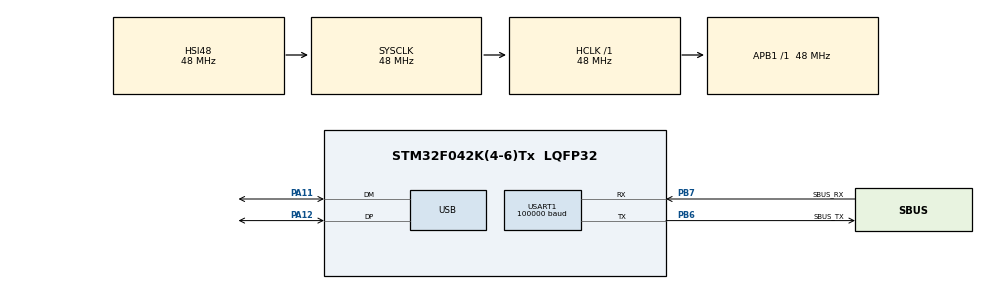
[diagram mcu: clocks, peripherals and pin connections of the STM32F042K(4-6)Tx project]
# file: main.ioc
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Dma.Request0=USART1_RX
Dma.USART1_RX.0.Direction=DMA_PERIPH_TO_MEMORY
Dma.USART1_RX.0.Instance=DMA1_Channel3
Dma.USART1_RX.0.MemDataAlignment=DMA_MDATAALIGN_BYTE
Dma.USART1_RX.0.MemInc=DMA_MINC_ENABLE
Dma.USART1_RX.0.Mode=DMA_NORMAL
Dma.USART1_RX.0.PeriphDataAlignment=DMA_PDATAALIGN_BYTE
Dma.USART1_RX.0.PeriphInc=DMA_PINC_DISABLE
Dma.USART1_RX.0.Priority=DMA_PRIORITY_LOW
Mcu.Family=STM32F0
Mcu.Name=STM32F042K(4-6)Tx
Mcu.Package=LQFP32
NVIC.DMA1_Channel2_3_IRQn=true\:0\:0\:false\:false\:true\:false
NVIC.USB_IRQn=true\:0\:0\:false\:false\:true\:false
PA11.Mode=Device
PA11.Signal=USB_DM
PA12.Mode=Device
PA12.Signal=USB_DP
PA13.Mode=Serial_Wire
PA13.Signal=SYS_SWDIO
PA14.Mode=Serial_Wire
PA14.Signal=SYS_SWCLK
PB6.GPIO_Label=SBUS_TX
PB6.Mode=Asynchronous
PB6.Signal=USART1_TX
PB7.GPIO_Label=SBUS_RX
PB7.Mode=Asynchronous
PB7.Signal=USART1_RX
ProjectManager.HeapSize=0x100
ProjectManager.StackSize=0x250
ProjectManager.TargetToolchain=Makefile
RCC.AHBFreq_Value=48000000
RCC.APB1Freq_Value=48000000
RCC.APB1TimFreq_Value=48000000
RCC.HCLKFreq_Value=48000000
RCC.SYSCLKFreq_VALUE=48000000
RCC.SYSCLKSource=RCC_SYSCLKSOURCE_HSI48
USART1.BaudRate=100000
USART1.DMADisableonRxErrorParam=ADVFEATURE_DMA_DISABLEONRXERROR
USART1.Mode=MODE_TX_RX
USART1.OverSampling=UART_OVERSAMPLING_16
USART1.Parity=PARITY_EVEN
USART1.RxPinLevelInvertParam=ADVFEATURE_RXINV_ENABLE
USART1.StopBits=STOPBITS_2
USART1.TxPinLevelInvertParam=ADVFEATURE_TXINV_ENABLE
USART1.VirtualMode-Asynchronous=VM_ASYNC
USB_DEVICE.APP_RX_DATA_SIZE=100
USB_DEVICE.APP_TX_DATA_SIZE=200
USB_DEVICE.CLASS_NAME_FS=CDC
USB_DEVICE.VirtualMode=Cdc
USB_DEVICE.VirtualModeFS=Cdc_FS
VP_TIM2_VS_ClockSourceINT.Mode=Internal
VP_USB_DEVICE_VS_USB_DEVICE_CDC_FS.Mode=CDC_FS
board=custom

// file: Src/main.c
/**
  ******************************************************************************
  * @file           : main.c
  * @brief          : Main program body
  ******************************************************************************
  * This notice applies to any and all portions of this file
  * that are not between comment pairs USER CODE BEGIN and
  * USER CODE END. Other portions of this file, whether
  * inserted by the user or by software development tools
  * are owned by their respective copyright owners.
  *
  * Copyright (c) 2018 STMicroelectronics International N.V.
  * All rights reserved.
  *
  * Redistribution and use in source and binary forms, with or without
  * modification, are permitted, provided that the following conditions are met:
  *
  * 1. Redistribution of source code must retain the above copyright notice,
  *    this list of conditions and the following disclaimer.
  * 2. Redistributions in binary form must reproduce the above copyright notice,
  *    this list of conditions and the following disclaimer in the documentation
  *    and/or other materials provided with the distribution.
  * 3. Neither the name of STMicroelectronics nor the names of other
  *    contributors to this software may be used to endorse or promote products
  *    derived from this software without specific written permission.
  * 4. This software, including modifications and/or derivative works of this
  *    software, must execute solely and exclusively on microcontroller or
  *    microprocessor devices manufactured by or for STMicroelectronics.
  * 5. Redistribution and use of this software other than as permitted under
  *    this license is void and will automatically terminate your rights under
  *    this license.
  *
  * THIS SOFTWARE IS PROVIDED BY STMICROELECTRONICS AND CONTRIBUTORS "AS IS"
  * AND ANY EXPRESS, IMPLIED OR STATUTORY WARRANTIES, INCLUDING, BUT NOT
  * LIMITED TO, THE IMPLIED WARRANTIES OF MERCHANTABILITY, FITNESS FOR A
  * PARTICULAR PURPOSE AND NON-INFRINGEMENT OF THIRD PARTY INTELLECTUAL PROPERTY
  * RIGHTS ARE DISCLAIMED TO THE FULLEST EXTENT PERMITTED BY LAW. IN NO EVENT
  * SHALL STMICROELECTRONICS OR CONTRIBUTORS BE LIABLE FOR ANY DIRECT, INDIRECT,
  * INCIDENTAL, SPECIAL, EXEMPLARY, OR CONSEQUENTIAL DAMAGES (INCLUDING, BUT NOT
  * LIMITED TO, PROCUREMENT OF SUBSTITUTE GOODS OR SERVICES; LOSS OF USE, DATA,
  * OR PROFITS; OR BUSINESS INTERRUPTION) HOWEVER CAUSED AND ON ANY THEORY OF
  * LIABILITY, WHETHER IN CONTRACT, STRICT LIABILITY, OR TORT (INCLUDING
  * NEGLIGENCE OR OTHERWISE) ARISING IN ANY WAY OUT OF THE USE OF THIS SOFTWARE,
  * EVEN IF ADVISED OF THE POSSIBILITY OF SUCH DAMAGE.
  *
  ******************************************************************************
  */
#include "main.h"
#include "stm32f0xx_hal.h"
#include "usb_device.h"

/* USER CODE BEGIN Includes */
#include "usbd_cdc_if.h"
#include "smartport.h"
/* USER CODE END Includes */

TIM_HandleTypeDef htim2;

UART_HandleTypeDef huart1;
DMA_HandleTypeDef hdma_usart1_rx;

/* USER CODE BEGIN PV */
uint8_t smartportByte;
smartportHandle_t smartportHandle;
/* Private variables ---------------------------------------------------------*/

/* USER CODE END PV */

void SystemClock_Config(void);
static void MX_GPIO_Init(void);
static void MX_DMA_Init(void);
static void MX_TIM2_Init(void);
static void MX_USART1_UART_Init(void);

/* USER CODE BEGIN PFP */
/* Private function prototypes -----------------------------------------------*/
static void appSmartportInit(void);
static void onSmartportFrame(smartportHandle_t *handle);
/* USER CODE END PFP */

int main(void)
{

  /* MCU Configuration----------------------------------------------------------*/

  /* Reset of all peripherals, Initializes the Flash interface and the Systick. */
  HAL_Init();

  /* Configure the system clock */
  SystemClock_Config();

  /* Initialize all configured peripherals */
  MX_GPIO_Init();
  MX_DMA_Init();
  MX_TIM2_Init();
  MX_USART1_UART_Init();
  MX_USB_DEVICE_Init();
  /* USER CODE BEGIN 2 */

  // appSmartportInit();

  // cam 0
  HAL_GPIO_WritePin(VID_SELECT_GPIO_Port, VID_SELECT_Pin, GPIO_PIN_RESET);
  /* USER CODE END 2 */

  /* Infinite loop */
  while (1)
  {

  /* USER CODE BEGIN 3 */
    HAL_Delay(1000);
    CDC_Transmit_FS("Hello, World!\r\n", 15);
  }
  /* USER CODE END 3 */

}

void SystemClock_Config(void)
{

  RCC_OscInitTypeDef RCC_OscInitStruct;
  RCC_ClkInitTypeDef RCC_ClkInitStruct;
  RCC_PeriphCLKInitTypeDef PeriphClkInit;

    /**Initializes the CPU, AHB and APB busses clocks
    */
  RCC_OscInitStruct.OscillatorType = RCC_OSCILLATORTYPE_HSI48;
  RCC_OscInitStruct.HSI48State = RCC_HSI48_ON;
  RCC_OscInitStruct.PLL.PLLState = RCC_PLL_NONE;
  if (HAL_RCC_OscConfig(&RCC_OscInitStruct) != HAL_OK)
  {
    _Error_Handler(__FILE__, __LINE__);
  }

    /**Initializes the CPU, AHB and APB busses clocks
    */
  RCC_ClkInitStruct.ClockType = RCC_CLOCKTYPE_HCLK|RCC_CLOCKTYPE_SYSCLK
                              |RCC_CLOCKTYPE_PCLK1;
  RCC_ClkInitStruct.SYSCLKSource = RCC_SYSCLKSOURCE_HSI48;
  RCC_ClkInitStruct.AHBCLKDivider = RCC_SYSCLK_DIV1;
  RCC_ClkInitStruct.APB1CLKDivider = RCC_HCLK_DIV1;

  if (HAL_RCC_ClockConfig(&RCC_ClkInitStruct, FLASH_LATENCY_1) != HAL_OK)
  {
    _Error_Handler(__FILE__, __LINE__);
  }

  PeriphClkInit.PeriphClockSelection = RCC_PERIPHCLK_USB|RCC_PERIPHCLK_USART1;
  PeriphClkInit.Usart1ClockSelection = RCC_USART1CLKSOURCE_PCLK1;
  PeriphClkInit.UsbClockSelection = RCC_USBCLKSOURCE_HSI48;

  if (HAL_RCCEx_PeriphCLKConfig(&PeriphClkInit) != HAL_OK)
  {
    _Error_Handler(__FILE__, __LINE__);
  }

    /**Configure the Systick interrupt time
    */
  HAL_SYSTICK_Config(HAL_RCC_GetHCLKFreq()/1000);

    /**Configure the Systick
    */
  HAL_SYSTICK_CLKSourceConfig(SYSTICK_CLKSOURCE_HCLK);

  /* SysTick_IRQn interrupt configuration */
  HAL_NVIC_SetPriority(SysTick_IRQn, 0, 0);
}

/* TIM2 init function */
static void MX_TIM2_Init(void)
{

  TIM_ClockConfigTypeDef sClockSourceConfig;
  TIM_MasterConfigTypeDef sMasterConfig;

  htim2.Instance = TIM2;
  htim2.Init.Prescaler = 0;
  htim2.Init.CounterMode = TIM_COUNTERMODE_UP;
  htim2.Init.Period = 0;
  htim2.Init.ClockDivision = TIM_CLOCKDIVISION_DIV1;
  htim2.Init.AutoReloadPreload = TIM_AUTORELOAD_PRELOAD_DISABLE;
  if (HAL_TIM_Base_Init(&htim2) != HAL_OK)
  {
    _Error_Handler(__FILE__, __LINE__);
  }

  sClockSourceConfig.ClockSource = TIM_CLOCKSOURCE_INTERNAL;
  if (HAL_TIM_ConfigClockSource(&htim2, &sClockSourceConfig) != HAL_OK)
  {
    _Error_Handler(__FILE__, __LINE__);
  }

  sMasterConfig.MasterOutputTrigger = TIM_TRGO_RESET;
  sMasterConfig.MasterSlaveMode = TIM_MASTERSLAVEMODE_DISABLE;
  if (HAL_TIMEx_MasterConfigSynchronization(&htim2, &sMasterConfig) != HAL_OK)
  {
    _Error_Handler(__FILE__, __LINE__);
  }

}

/* USART1 init function */
static void MX_USART1_UART_Init(void)
{

  huart1.Instance = USART1;
  huart1.Init.BaudRate = 100000;
  huart1.Init.WordLength = UART_WORDLENGTH_8B;
  huart1.Init.StopBits = UART_STOPBITS_2;
  huart1.Init.Parity = UART_PARITY_EVEN;
  huart1.Init.Mode = UART_MODE_TX_RX;
  huart1.Init.HwFlowCtl = UART_HWCONTROL_NONE;
  huart1.Init.OverSampling = UART_OVERSAMPLING_16;
  huart1.Init.OneBitSampling = UART_ONE_BIT_SAMPLE_DISABLE;
  huart1.AdvancedInit.AdvFeatureInit = UART_ADVFEATURE_TXINVERT_INIT|UART_ADVFEATURE_RXINVERT_INIT
                              |UART_ADVFEATURE_DMADISABLEONERROR_INIT;
  huart1.AdvancedInit.TxPinLevelInvert = UART_ADVFEATURE_TXINV_ENABLE;
  huart1.AdvancedInit.RxPinLevelInvert = UART_ADVFEATURE_RXINV_ENABLE;
  huart1.AdvancedInit.DMADisableonRxError = UART_ADVFEATURE_DMA_DISABLEONRXERROR;
  if (HAL_UART_Init(&huart1) != HAL_OK)
  {
    _Error_Handler(__FILE__, __LINE__);
  }

}

static void MX_DMA_Init(void)
{
  /* DMA controller clock enable */
  __HAL_RCC_DMA1_CLK_ENABLE();

  /* DMA interrupt init */
  /* DMA1_Channel2_3_IRQn interrupt configuration */
  HAL_NVIC_SetPriority(DMA1_Channel2_3_IRQn, 0, 0);
  HAL_NVIC_EnableIRQ(DMA1_Channel2_3_IRQn);

}

/** Configure pins as
        * Analog
        * Input
        * Output
        * EVENT_OUT
        * EXTI
*/
static void MX_GPIO_Init(void)
{

  /* GPIO Ports Clock Enable */
  __HAL_RCC_GPIOA_CLK_ENABLE();
  __HAL_RCC_GPIOB_CLK_ENABLE();

}

/* USER CODE BEGIN 4 */
static void appSmartportInit(void) {
  smartportHandle.onFrame = onSmartportFrame;

  if (!smartportInit(&smartportHandle)) {
    _Error_Handler(__FILE__, __LINE__);
  }

  HAL_UART_Receive_DMA(&huart1, &smartportByte, 1);
}

static void onSmartportFrame(smartportHandle_t *handle) {
  CDC_Transmit_FS(&handle->frame, SMARTPORT_FRAME_SIZE);
}
/* USER CODE END 4 */

void _Error_Handler(char *file, int line)
{
  while(1)
  {
  }
}

/************************ (C) COPYRIGHT STMicroelectronics *****END OF FILE****/
